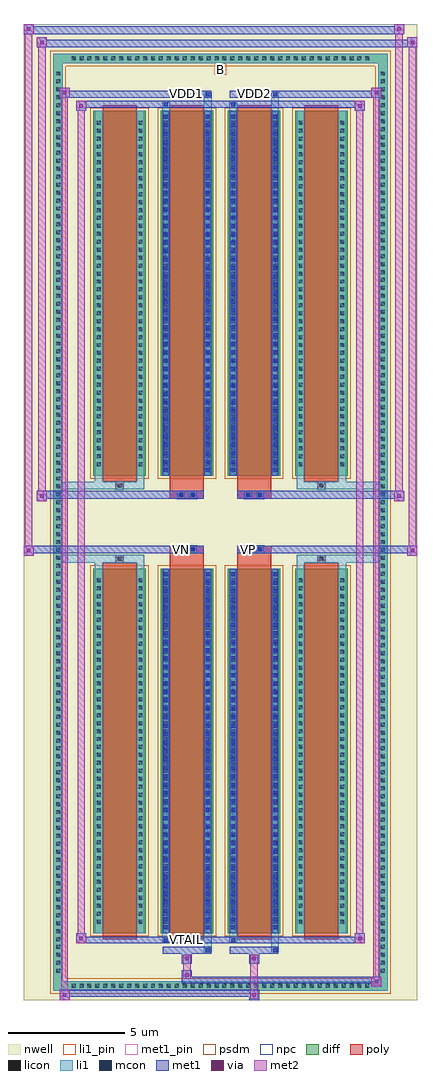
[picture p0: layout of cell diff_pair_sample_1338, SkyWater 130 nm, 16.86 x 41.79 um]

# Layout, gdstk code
import gdstk
lib = gdstk.Library(unit=1e-6, precision=5e-09)
def R(c, l, rs):  # rectangles x0, y0, x1, y1
    for r in rs: c.add(gdstk.rectangle(r[:2], r[2:], *l))
def A(c, l, x, y, w, h, nx, ny, dx, dy):  # array of equal rectangles
    R(c, l, [(x+i*dx, y+j*dy, x+i*dx+w, y+j*dy+h) for i in range(nx) for j in range(ny)])
def P(c, l, *ps):  # polygons
    for p in ps: c.add(gdstk.Polygon(p, *l))
nwell = (64, 20)
diff = (65, 20)
poly = (66, 20)
licon = (66, 44)
li1_pin = (67, 16)
li1 = (67, 20)
mcon = (67, 44)
met1_pin = (68, 16)
met1 = (68, 20)
via = (68, 44)
met2 = (69, 20)
psdm = (94, 20)
npc = (95, 20)

diff_pair_sample_1338 = lib.new_cell('diff_pair_sample_1338')
R(diff_pair_sample_1338, nwell, [(-8.43,-20.46,8.43,21.33), (-5.75,-18.65,-0.01,-0.805), (0.01,-18.65,5.75,-0.805), (-5.75,0.805,-0.01,18.65), (0.01,0.805,5.75,18.65)])
A(diff_pair_sample_1338, diff, -6.495, -20.06, 0.41, 0.41, 38, 2, 0.34, 39.71)
A(diff_pair_sample_1338, diff, -7.16, -19.415, 0.41, 0.41, 1, 114, 0, 0.34)
A(diff_pair_sample_1338, diff, 6.75, -19.415, 0.41, 0.41, 1, 114, 0, 0.34)
A(diff_pair_sample_1338, diff, -5.44, -17.605, 2.24, 15.62, 4, 2, 2.88, 19.59)
R(diff_pair_sample_1338, diff, [(-6.495,-20.06,6.495,-19.65), (-7.16,-19.415,-6.75,19.415), (6.75,-19.415,7.16,19.415), (-6.495,19.65,6.495,20.06)])
P(diff_pair_sample_1338, diff, [(7.16,20.06),(-7.16,20.06),(-7.16,-19.65),(-6.75,-19.65),(-6.75,19.65),(6.75,19.65),(6.75,-19.65),(-6.75,-19.65),(-7.16,-19.65),(-7.16,-20.06),(7.16,-20.06)])
A(diff_pair_sample_1338, poly, -5.05, -17.855, 1.46, 16.12, 4, 2, 2.88, 19.59)
R(diff_pair_sample_1338, poly, [(-4.485,-1.735,-4.155,-1.405), (-4.485,-1.735,-4.155,-1.405), (-2.17,-1.735,-0.71,-1.335), (0.71,-1.735,2.17,-1.335), (4.155,-1.735,4.485,-1.405), (4.155,-1.735,4.485,-1.405), (-2.17,-1.335,-0.71,-1.005), (-1.855,-1.335,-1.525,-1.005), (-1.355,-1.335,-1.025,-1.005), (0.71,-1.335,2.17,-1.005), (1.025,-1.335,1.355,-1.005), (1.525,-1.335,1.855,-1.005), (-2.17,1.005,-0.71,1.335), (-1.855,1.005,-1.525,1.335), (-1.355,1.005,-1.025,1.335), (0.71,1.005,2.17,1.335), (1.025,1.005,1.355,1.335), (1.525,1.005,1.855,1.335), (-2.17,1.335,-0.71,1.735), (0.71,1.335,2.17,1.735), (-4.485,1.405,-4.155,1.735), (-4.485,1.405,-4.155,1.735), (4.155,1.405,4.485,1.735), (4.155,1.405,4.485,1.735)])
A(diff_pair_sample_1338, licon, -6.375, -19.94, 0.17, 0.17, 38, 2, 0.34, 39.71)
A(diff_pair_sample_1338, licon, -7.04, -19.295, 0.17, 0.17, 1, 114, 0, 0.34)
A(diff_pair_sample_1338, licon, 6.87, -19.295, 0.17, 0.17, 1, 114, 0, 0.34)
A(diff_pair_sample_1338, licon, -5.3, -17.19, 0.17, 0.17, 1, 44, 0, 0.34)
A(diff_pair_sample_1338, licon, -3.51, -17.19, 0.17, 0.17, 1, 44, 0, 0.34)
A(diff_pair_sample_1338, licon, -2.42, -17.19, 0.17, 0.17, 1, 44, 0, 0.34)
A(diff_pair_sample_1338, licon, -0.63, -17.19, 0.17, 0.17, 1, 44, 0, 0.34)
A(diff_pair_sample_1338, licon, 0.46, -17.19, 0.17, 0.17, 1, 44, 0, 0.34)
A(diff_pair_sample_1338, licon, 2.25, -17.19, 0.17, 0.17, 1, 44, 0, 0.34)
A(diff_pair_sample_1338, licon, 3.34, -17.19, 0.17, 0.17, 1, 44, 0, 0.34)
A(diff_pair_sample_1338, licon, 5.13, -17.19, 0.17, 0.17, 1, 44, 0, 0.34)
A(diff_pair_sample_1338, licon, -5.3, 2.4, 0.17, 0.17, 1, 44, 0, 0.34)
A(diff_pair_sample_1338, licon, -3.51, 2.4, 0.17, 0.17, 1, 44, 0, 0.34)
A(diff_pair_sample_1338, licon, -2.42, 2.4, 0.17, 0.17, 1, 44, 0, 0.34)
A(diff_pair_sample_1338, licon, -0.63, 2.4, 0.17, 0.17, 1, 44, 0, 0.34)
A(diff_pair_sample_1338, licon, 0.46, 2.4, 0.17, 0.17, 1, 44, 0, 0.34)
A(diff_pair_sample_1338, licon, 2.25, 2.4, 0.17, 0.17, 1, 44, 0, 0.34)
A(diff_pair_sample_1338, licon, 3.34, 2.4, 0.17, 0.17, 1, 44, 0, 0.34)
A(diff_pair_sample_1338, licon, 5.13, 2.4, 0.17, 0.17, 1, 44, 0, 0.34)
R(diff_pair_sample_1338, licon, [(-4.405,-1.655,-4.235,-1.485), (4.235,-1.655,4.405,-1.485), (-1.775,-1.255,-1.605,-1.085), (-1.275,-1.255,-1.105,-1.085), (1.105,-1.255,1.275,-1.085), (1.605,-1.255,1.775,-1.085), (-1.775,1.085,-1.605,1.255), (-1.275,1.085,-1.105,1.255), (1.105,1.085,1.275,1.255), (1.605,1.085,1.775,1.255), (-4.405,1.485,-4.235,1.655), (4.235,1.485,4.405,1.655)])
R(diff_pair_sample_1338, li1_pin, [(-0.25,19.15,0.25,19.65)])
A(diff_pair_sample_1338, li1, -6.455, -20.02, 0.33, 0.33, 38, 2, 0.34, 39.71)
A(diff_pair_sample_1338, li1, -7.12, -19.375, 0.33, 0.33, 1, 114, 0, 0.34)
A(diff_pair_sample_1338, li1, 6.79, -19.375, 0.33, 0.33, 1, 114, 0, 0.34)
A(diff_pair_sample_1338, li1, -2.42, -17.44, 0.17, 0.17, 1, 43, 0, 0.36)
A(diff_pair_sample_1338, li1, -0.63, -17.44, 0.17, 0.17, 1, 43, 0, 0.36)
A(diff_pair_sample_1338, li1, 0.46, -17.44, 0.17, 0.17, 1, 43, 0, 0.36)
A(diff_pair_sample_1338, li1, 2.25, -17.44, 0.17, 0.17, 1, 43, 0, 0.36)
A(diff_pair_sample_1338, li1, -5.38, -17.27, 0.33, 0.33, 1, 44, 0, 0.34)
A(diff_pair_sample_1338, li1, -3.59, -17.27, 0.33, 0.33, 1, 44, 0, 0.34)
A(diff_pair_sample_1338, li1, -2.5, -17.27, 0.33, 0.33, 1, 44, 0, 0.34)
A(diff_pair_sample_1338, li1, -0.71, -17.27, 0.33, 0.33, 1, 44, 0, 0.34)
A(diff_pair_sample_1338, li1, 0.38, -17.27, 0.33, 0.33, 1, 44, 0, 0.34)
A(diff_pair_sample_1338, li1, 2.17, -17.27, 0.33, 0.33, 1, 44, 0, 0.34)
A(diff_pair_sample_1338, li1, 3.26, -17.27, 0.33, 0.33, 1, 44, 0, 0.34)
A(diff_pair_sample_1338, li1, 5.05, -17.27, 0.33, 0.33, 1, 44, 0, 0.34)
A(diff_pair_sample_1338, li1, -2.42, 2.15, 0.17, 0.17, 1, 43, 0, 0.36)
A(diff_pair_sample_1338, li1, -0.63, 2.15, 0.17, 0.17, 1, 43, 0, 0.36)
A(diff_pair_sample_1338, li1, 0.46, 2.15, 0.17, 0.17, 1, 43, 0, 0.36)
A(diff_pair_sample_1338, li1, 2.25, 2.15, 0.17, 0.17, 1, 43, 0, 0.36)
A(diff_pair_sample_1338, li1, -5.38, 2.32, 0.33, 0.33, 1, 44, 0, 0.34)
A(diff_pair_sample_1338, li1, -3.59, 2.32, 0.33, 0.33, 1, 44, 0, 0.34)
A(diff_pair_sample_1338, li1, -2.5, 2.32, 0.33, 0.33, 1, 44, 0, 0.34)
A(diff_pair_sample_1338, li1, -0.71, 2.32, 0.33, 0.33, 1, 44, 0, 0.34)
A(diff_pair_sample_1338, li1, 0.38, 2.32, 0.33, 0.33, 1, 44, 0, 0.34)
A(diff_pair_sample_1338, li1, 2.17, 2.32, 0.33, 0.33, 1, 44, 0, 0.34)
A(diff_pair_sample_1338, li1, 3.26, 2.32, 0.33, 0.33, 1, 44, 0, 0.34)
A(diff_pair_sample_1338, li1, 5.05, 2.32, 0.33, 0.33, 1, 44, 0, 0.34)
R(diff_pair_sample_1338, li1, [(-7.16,-20.06,-6.75,-19.65), (-7.16,-20.06,-6.75,-19.65), (-6.75,-20.06,6.75,-19.65), (6.75,-20.06,7.16,-19.65), (6.75,-20.06,7.16,-19.65), (-7.16,-19.65,-6.75,19.65), (6.75,-19.65,7.16,19.65), (-0.71,-18.41,-0.38,-17.605), (-0.63,-18.41,-0.46,-18.24), (2.17,-18.41,2.5,-17.605), (2.25,-18.41,2.42,-18.24), (-2.5,-17.98,-2.17,-17.605), (-2.42,-17.98,-2.25,-17.81), (0.38,-17.98,0.71,-17.605), (0.46,-17.98,0.63,-17.81), (-5.38,-17.605,-5.05,-1.985), (-3.59,-17.605,-3.26,-1.985), (-2.5,-17.605,-2.17,-1.985), (-0.71,-17.605,-0.38,-1.985), (0.38,-17.605,0.71,-1.985), (2.17,-17.605,2.5,-1.985), (3.26,-17.605,3.59,-1.985), (5.05,-17.605,5.38,-1.985), (-2.42,-17.44,-2.25,-2.15), (-0.63,-17.44,-0.46,-2.15), (0.46,-17.44,0.63,-2.15), (2.25,-17.44,2.42,-2.15), (-5.38,-1.985,-5.05,-1.405), (-3.59,-1.985,-3.26,-1.405), (3.26,-1.985,3.59,-1.405), (5.05,-1.985,5.38,-1.405), (-7.16,-1.735,-4.485,-1.405), (-5.38,-1.735,-4.485,-1.405), (-4.485,-1.735,-4.155,-1.405), (-4.155,-1.735,-3.26,-1.405), (3.26,-1.735,4.155,-1.405), (4.155,-1.735,4.485,-1.405), (4.155,-1.735,7.16,-1.405), (4.485,-1.735,5.38,-1.405), (-1.855,-1.335,-1.525,-1.005), (-1.355,-1.335,-1.025,-1.005), (1.025,-1.335,1.355,-1.005), (1.525,-1.335,1.855,-1.005), (-1.855,1.005,-1.525,1.335), (-1.355,1.005,-1.025,1.335), (1.025,1.005,1.355,1.335), (1.525,1.005,1.855,1.335), (-7.16,1.405,-4.485,1.735), (-5.38,1.405,-4.485,1.735), (-5.38,1.405,-5.05,1.985), (-4.485,1.405,-4.155,1.735), (-4.155,1.405,-3.26,1.735), (-3.59,1.405,-3.26,1.985), (3.26,1.405,4.155,1.735), (3.26,1.405,3.59,1.985), (4.155,1.405,4.485,1.735), (4.155,1.405,7.16,1.735), (4.485,1.405,5.38,1.735), (5.05,1.405,5.38,1.985), (-5.38,1.985,-5.05,17.605), (-3.59,1.985,-3.26,17.605), (-2.5,1.985,-2.17,17.605), (-0.71,1.985,-0.38,17.605), (0.38,1.985,0.71,17.605), (2.17,1.985,2.5,17.605), (3.26,1.985,3.59,17.605), (5.05,1.985,5.38,17.605), (-2.42,2.15,-2.25,17.44), (-0.63,2.15,-0.46,17.44), (0.46,2.15,0.63,17.44), (2.25,2.15,2.42,17.44), (-2.5,17.605,-2.17,17.98), (-0.71,17.605,-0.38,18.41), (0.38,17.605,0.71,17.98), (2.17,17.605,2.5,18.41), (-2.42,17.81,-2.25,17.98), (0.46,17.81,0.63,17.98), (-0.63,18.24,-0.46,18.41), (2.25,18.24,2.42,18.41), (-7.16,19.65,-6.75,20.06), (-7.16,19.65,-6.75,20.06), (-6.75,19.65,6.75,20.06), (6.75,19.65,7.16,20.06), (6.75,19.65,7.16,20.06)])
A(diff_pair_sample_1338, mcon, -2.42, -17.44, 0.17, 0.17, 1, 43, 0, 0.36)
A(diff_pair_sample_1338, mcon, -0.63, -17.44, 0.17, 0.17, 1, 43, 0, 0.36)
A(diff_pair_sample_1338, mcon, 0.46, -17.44, 0.17, 0.17, 1, 43, 0, 0.36)
A(diff_pair_sample_1338, mcon, 2.25, -17.44, 0.17, 0.17, 1, 43, 0, 0.36)
A(diff_pair_sample_1338, mcon, -2.42, 2.15, 0.17, 0.17, 1, 43, 0, 0.36)
A(diff_pair_sample_1338, mcon, -0.63, 2.15, 0.17, 0.17, 1, 43, 0, 0.36)
A(diff_pair_sample_1338, mcon, 0.46, 2.15, 0.17, 0.17, 1, 43, 0, 0.36)
A(diff_pair_sample_1338, mcon, 2.25, 2.15, 0.17, 0.17, 1, 43, 0, 0.36)
R(diff_pair_sample_1338, mcon, [(-0.63,-18.41,-0.46,-18.24), (2.25,-18.41,2.42,-18.24), (-2.42,-17.98,-2.25,-17.81), (0.46,-17.98,0.63,-17.81), (-1.775,-1.255,-1.605,-1.085), (-1.275,-1.255,-1.105,-1.085), (1.105,-1.255,1.275,-1.085), (1.605,-1.255,1.775,-1.085), (-1.775,1.085,-1.605,1.255), (-1.275,1.085,-1.105,1.255), (1.105,1.085,1.275,1.255), (1.605,1.085,1.775,1.255), (-2.42,17.81,-2.25,17.98), (0.46,17.81,0.63,17.98), (-0.63,18.24,-0.46,18.41), (2.25,18.24,2.42,18.41)])
R(diff_pair_sample_1338, met1_pin, [(-1.575,-18.02,-1.305,-17.75), (-1.825,-1.295,-1.555,-1.025), (1.055,-1.295,1.325,-1.025), (-1.575,18.2,-1.305,18.47), (1.305,18.2,1.575,18.47)])
A(diff_pair_sample_1338, met1, -2.48, -17.5, 0.29, 0.29, 1, 43, 0, 0.36)
A(diff_pair_sample_1338, met1, -0.69, -17.5, 0.29, 0.29, 1, 43, 0, 0.36)
A(diff_pair_sample_1338, met1, 0.4, -17.5, 0.29, 0.29, 1, 43, 0, 0.36)
A(diff_pair_sample_1338, met1, 2.19, -17.5, 0.29, 0.29, 1, 43, 0, 0.36)
A(diff_pair_sample_1338, met1, -2.48, 2.09, 0.29, 0.29, 1, 43, 0, 0.36)
A(diff_pair_sample_1338, met1, -0.69, 2.09, 0.29, 0.29, 1, 43, 0, 0.36)
A(diff_pair_sample_1338, met1, 0.4, 2.09, 0.29, 0.29, 1, 43, 0, 0.36)
A(diff_pair_sample_1338, met1, 2.19, 2.09, 0.29, 0.29, 1, 43, 0, 0.36)
R(diff_pair_sample_1338, met1, [(-6.89,-20.46,-6.46,-20.03), (1.225,-20.46,1.655,-20.03), (-6.89,-20.32,1.655,-20.03), (6.46,-19.89,6.89,-19.46), (-1.655,-19.75,6.89,-19.46), (-1.655,-19.61,-1.225,-19.18), (-1.655,-18.9,-1.225,-18.47), (1.225,-18.9,1.655,-18.47), (-2.48,-18.47,-0.4,-18.18), (-0.69,-18.47,-0.4,-18.18), (0.4,-18.47,2.48,-18.18), (2.19,-18.47,2.48,-18.18), (-6.18,-18.04,-5.75,-17.61), (-6.18,-18.04,-2.48,-17.75), (-2.48,-18.04,-2.19,-17.75), (-2.48,-18.04,-0.4,-17.75), (-0.4,-18.04,0.4,-17.75), (0.4,-18.04,0.69,-17.75), (0.4,-18.04,2.48,-17.75), (2.48,-18.04,6.18,-17.75), (5.75,-18.04,6.18,-17.61), (-2.48,-17.605,-2.19,-1.985), (-0.69,-17.605,-0.4,-1.985), (0.4,-17.605,0.69,-1.985), (2.19,-17.605,2.48,-1.985), (-8.43,-1.435,-8,-1.005), (8,-1.435,8.43,-1.005), (-8.43,-1.335,-0.71,-1.005), (-2.17,-1.335,-0.71,-1.005), (0.71,-1.335,2.17,-1.005), (0.71,-1.335,8.43,-1.005), (-1.835,-1.315,-1.545,-1.025), (-1.335,-1.315,-1.045,-1.025), (1.045,-1.315,1.335,-1.025), (1.545,-1.315,1.835,-1.025), (-7.86,0.905,-7.43,1.335), (7.43,0.905,7.86,1.335), (-7.86,1.005,-2.17,1.335), (-2.17,1.005,-0.71,1.335), (0.71,1.005,2.17,1.335), (2.17,1.005,7.86,1.335), (-1.835,1.025,-1.545,1.315), (-1.335,1.025,-1.045,1.315), (1.045,1.025,1.335,1.315), (1.545,1.025,1.835,1.315), (-2.48,1.985,-2.19,17.605), (-0.69,1.985,-0.4,17.605), (0.4,1.985,0.69,17.605), (2.19,1.985,2.48,17.605), (-6.18,17.61,-5.75,18.04), (5.75,17.61,6.18,18.04), (-6.18,17.75,-2.48,18.04), (-2.48,17.75,-2.19,18.04), (-2.48,17.75,-0.4,18.04), (-0.4,17.75,0.4,18.04), (0.4,17.75,0.69,18.04), (0.4,17.75,2.48,18.04), (2.48,17.75,6.18,18.04), (-6.89,18.18,-6.46,18.61), (-6.89,18.18,-2.48,18.47), (-2.48,18.18,-0.4,18.47), (-0.69,18.18,-0.4,18.47), (0.4,18.18,2.48,18.47), (2.19,18.18,2.48,18.47), (2.48,18.18,6.89,18.47), (6.46,18.18,6.89,18.61), (-7.86,20.33,-7.43,20.76), (-7.86,20.33,-5.75,20.66), (-5.75,20.33,5.75,20.66), (5.75,20.33,8.43,20.66), (8,20.33,8.43,20.76), (-8.43,20.9,-8,21.33), (-8.43,20.9,-5.75,21.23), (-5.75,20.9,5.75,21.23), (5.75,20.9,7.86,21.23), (7.43,20.9,7.86,21.33)])
R(diff_pair_sample_1338, via, [(-6.75,-20.32,-6.6,-20.17), (1.365,-20.32,1.515,-20.17), (6.6,-19.75,6.75,-19.6), (-1.515,-19.47,-1.365,-19.32), (-1.515,-18.76,-1.365,-18.61), (1.365,-18.76,1.515,-18.61), (-6.04,-17.9,-5.89,-17.75), (5.89,-17.9,6.04,-17.75), (-8.29,-1.295,-8.14,-1.145), (8.14,-1.295,8.29,-1.145), (-7.72,1.045,-7.57,1.195), (7.57,1.045,7.72,1.195), (-6.04,17.75,-5.89,17.9), (5.89,17.75,6.04,17.9), (-6.75,18.32,-6.6,18.47), (6.6,18.32,6.75,18.47), (-7.72,20.47,-7.57,20.62), (8.14,20.47,8.29,20.62), (-8.29,21.04,-8.14,21.19), (7.57,21.04,7.72,21.19)])
R(diff_pair_sample_1338, met2, [(-6.89,-20.46,-6.46,-20.03), (-6.82,-20.46,-6.53,18.61), (-6.53,-20.46,-6.46,-20.03), (-6.84,-20.41,-6.51,-20.08), (1.275,-20.41,1.605,-20.08), (1.275,-20.08,1.605,-18.85), (6.46,-19.89,6.89,-19.46), (6.53,-19.89,6.82,18.61), (6.82,-19.89,6.89,-19.46), (6.51,-19.84,6.84,-19.51), (-1.605,-19.56,-1.275,-19.23), (-1.605,-19.23,-1.275,-18.85), (-1.605,-18.85,-1.275,-18.52), (1.275,-18.85,1.605,-18.52), (-6.18,-18.04,-5.75,-17.61), (-6.11,-18.04,-5.82,18.04), (-5.82,-18.04,-5.75,-17.61), (5.75,-18.04,6.18,-17.61), (5.82,-18.04,6.11,18.04), (6.11,-18.04,6.18,-17.61), (-6.13,-17.99,-5.8,-17.66), (5.8,-17.99,6.13,-17.66), (-8.43,-1.435,-8,-1.005), (-8.38,-1.435,-8.05,21.33), (-8.05,-1.435,-8,-1.005), (8,-1.435,8.43,-1.005), (8.05,-1.435,8.38,20.76), (8.38,-1.435,8.43,-1.005), (-8.38,-1.385,-8.05,-1.055), (8.05,-1.385,8.38,-1.055), (-7.86,0.905,-7.43,1.335), (-7.81,0.905,-7.48,20.76), (-7.48,0.905,-7.43,1.335), (7.43,0.905,7.86,1.335), (7.48,0.905,7.81,21.33), (7.81,0.905,7.86,1.335), (-7.81,0.955,-7.48,1.285), (7.48,0.955,7.81,1.285), (-6.18,17.61,-5.75,18.04), (-5.82,17.61,-5.75,18.04), (5.75,17.61,6.18,18.04), (6.11,17.61,6.18,18.04), (-6.13,17.66,-5.8,17.99), (5.8,17.66,6.13,17.99), (-6.89,18.18,-6.46,18.61), (-6.53,18.18,-6.46,18.61), (6.46,18.18,6.89,18.61), (6.82,18.18,6.89,18.61), (-6.84,18.23,-6.51,18.56), (6.51,18.23,6.84,18.56), (-7.86,20.33,-7.43,20.76), (-7.48,20.33,-7.43,20.76), (8,20.33,8.43,20.76), (8.38,20.33,8.43,20.76), (-7.81,20.38,-7.48,20.71), (8.05,20.38,8.38,20.71), (-8.43,20.9,-8,21.33), (-8.05,20.9,-8,21.33), (7.43,20.9,7.86,21.33), (7.81,20.9,7.86,21.33), (-8.38,20.95,-8.05,21.28), (7.48,20.95,7.81,21.28)])
A(diff_pair_sample_1338, psdm, -5.57, -17.735, 2.5, 15.88, 4, 2, 2.88, 19.59)
P(diff_pair_sample_1338, psdm, [(7.29,20.19),(-7.29,20.19),(-7.29,-19.52),(-6.62,-19.52),(-6.62,19.52),(6.62,19.52),(6.62,-19.52),(-6.62,-19.52),(-7.29,-19.52),(-7.29,-20.19),(7.29,-20.19)])
R(diff_pair_sample_1338, npc, [(-4.505,-1.755,-4.135,-1.385), (4.135,-1.755,4.505,-1.385), (-1.875,-1.355,-1.505,-0.985), (-1.875,-1.355,-1.005,-0.985), (-1.875,-1.355,-1.005,-0.985), (-1.375,-1.355,-1.005,-0.985), (1.005,-1.355,1.375,-0.985), (1.005,-1.355,1.875,-0.985), (1.005,-1.355,1.875,-0.985), (1.505,-1.355,1.875,-0.985), (-1.875,0.985,-1.505,1.355), (-1.875,0.985,-1.005,1.355), (-1.875,0.985,-1.005,1.355), (-1.375,0.985,-1.005,1.355), (1.005,0.985,1.375,1.355), (1.005,0.985,1.875,1.355), (1.005,0.985,1.875,1.355), (1.505,0.985,1.875,1.355), (-4.505,1.385,-4.135,1.755), (4.135,1.385,4.505,1.755)])
diff_pair_sample_1338.add(gdstk.Label('VTAIL', (-1.44,-17.885), layer=68, texttype=5))
diff_pair_sample_1338.add(gdstk.Label('VN', (-1.69,-1.16), layer=68, texttype=5))
diff_pair_sample_1338.add(gdstk.Label('VP', (1.19,-1.16), layer=68, texttype=5))
diff_pair_sample_1338.add(gdstk.Label('B', (0,19.4), layer=67, texttype=5))
diff_pair_sample_1338.add(gdstk.Label('VDD2', (1.44,18.335), layer=68, texttype=5))
diff_pair_sample_1338.add(gdstk.Label('VDD1', (-1.44,18.335), layer=68, texttype=5))

lib.write_gds('diff_pair_sample_1338.gds')
